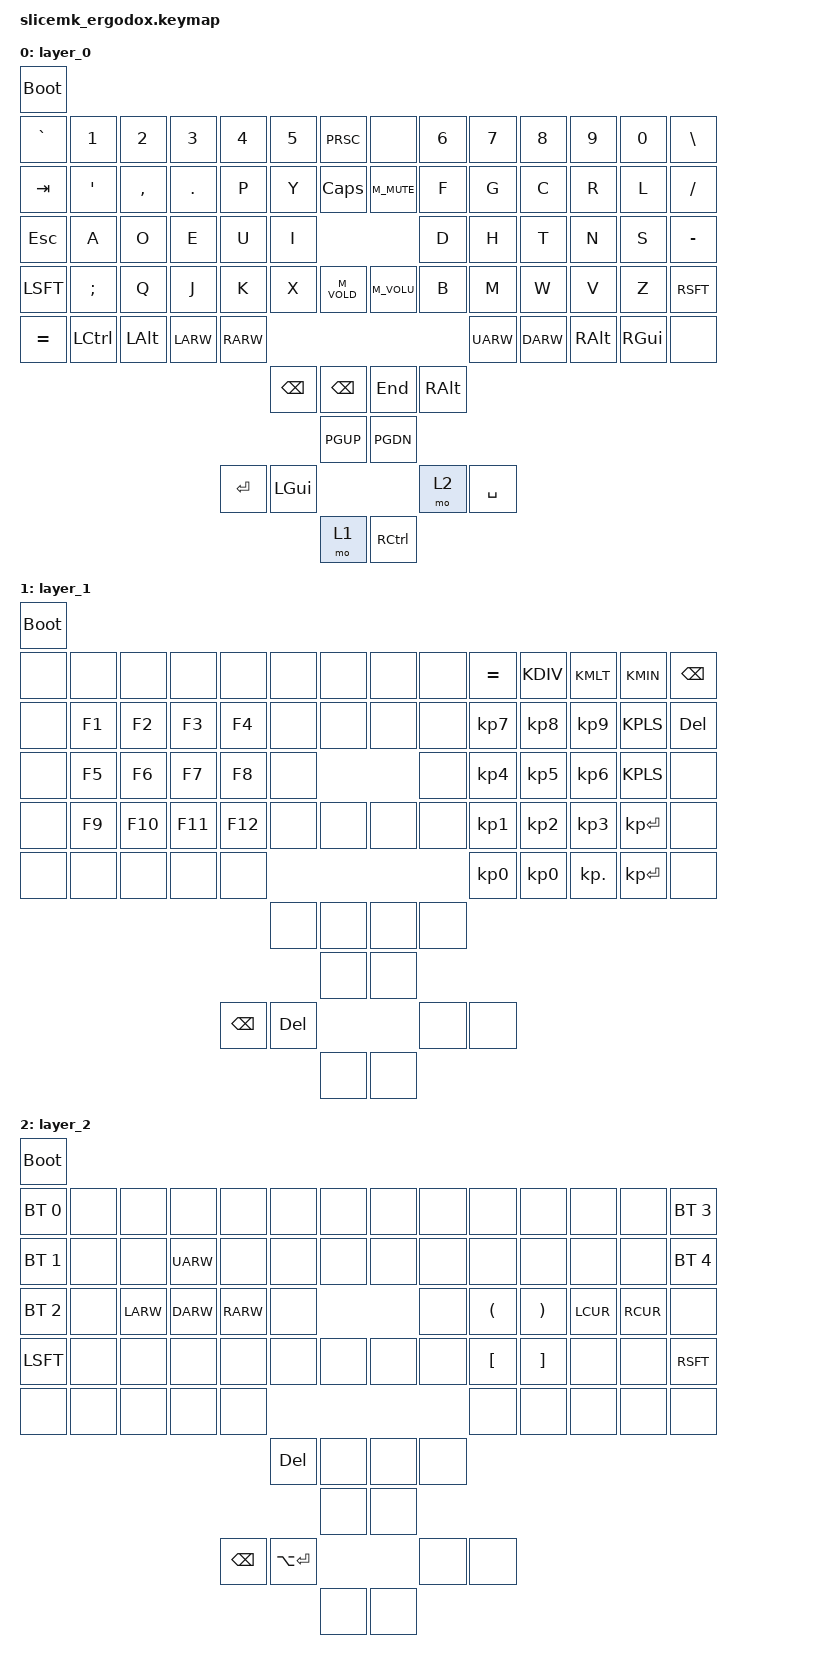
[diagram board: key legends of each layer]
#include <behaviors.dtsi>
#include <dt-bindings/zmk/bt.h>
#include <dt-bindings/zmk/keys.h>
#include <dt-bindings/zmk/outputs.h>

/ {
        keymap {
                compatible = "zmk,keymap";

                layer_0 {
                        bindings = <
    &bootloader
    &kp GRAV   &kp NUM_1  &kp NUM_2  &kp NUM_3  &kp NUM_4  &kp NUM_5  &kp PRSC   &none      &kp NUM_6  &kp NUM_7  &kp NUM_8  &kp NUM_9  &kp NUM_0  &kp BSLH
    &kp TAB    &kp SQT    &kp CMMA   &kp DOT    &kp P      &kp Y      &kp CLCK   &kp M_MUTE &kp F      &kp G      &kp C      &kp R      &kp L      &kp FSLH
    &kp ESC    &kp A      &kp O      &kp E      &kp U      &kp I                            &kp D      &kp H      &kp T      &kp N      &kp S      &kp MINUS
    &kp LSFT   &kp SEMI   &kp Q      &kp J      &kp K      &kp X      &kp M_VOLD &kp M_VOLU &kp B      &kp M      &kp W      &kp V      &kp Z      &kp RSFT
    &kp EQL    &kp LCTL   &kp LALT   &kp LARW   &kp RARW                                               &kp UARW   &kp DARW   &kp RALT   &kp RGUI   &none
                                                           &kp BSPC   &kp BSPC   &kp END    &kp RALT
                                                                      &kp PGUP   &kp PGDN
                                                &kp RET    &kp LGUI                         &mo 2      &kp SPC
                                                                      &mo 1      &kp RCTL
                        >;
                };

                layer_1 {
                        bindings = <
    &bootloader
    &none       &none      &none      &none      &none      &none      &none      &none      &none      &kp EQL   &kp KDIV   &kp KMLT   &kp KMIN     &kp BSPC
    &none       &kp F1     &kp F2     &kp F3     &kp F4     &none      &none      &none      &none      &kp KP_N7 &kp KP_N8  &kp KP_N9  &kp KPLS     &kp DEL
    &none       &kp F5     &kp F6     &kp F7     &kp F8     &none                            &none      &kp KP_N4 &kp KP_N5  &kp KP_N6  &kp KPLS     &none
    &none       &kp F9     &kp F10    &kp F11    &kp F12    &none      &none      &none      &none      &kp KP_N1 &kp KP_N2  &kp KP_N3  &kp KP_ENTER &none
    &none       &none      &none      &none      &none                                                  &kp KP_N0 &kp KP_N0  &kp KP_DOT &kp KP_ENTER &none
                                                           &none      &none      &none      &none
                                                                      &none      &none
                                                &kp BSPC   &kp DEL                          &none      &none
                                                                      &none      &none
                        >;
                };


                layer_2 {
                        bindings = <
    &bootloader
    &bt BT_SEL 0 &none      &none      &none      &none      &none      &none      &none      &none      &none      &none      &none      &none      &bt BT_SEL 3
    &bt BT_SEL 1 &none      &none      &kp UARW   &none      &none      &none      &none      &none      &none      &none      &none      &none      &bt BT_SEL 4
    &bt BT_SEL 2 &none      &kp LARW   &kp DARW   &kp RARW   &none                            &none      &kp LPRN   &kp RPRN   &kp LCUR   &kp RCUR   &none
    &kp LSFT     &none      &none      &none      &none      &none      &none      &none      &none      &kp LBKT   &kp RBKT   &none      &none      &kp RSFT
    &none        &none      &none      &none      &none                                                  &none      &none      &none      &none      &none
                                                             &kp DEL    &none      &none      &none
                                                                        &none      &none
                                                &kp BSPC     &kp LA(RET)                      &none      &none
                                                                        &none      &none
                        >;
                };

        };
};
